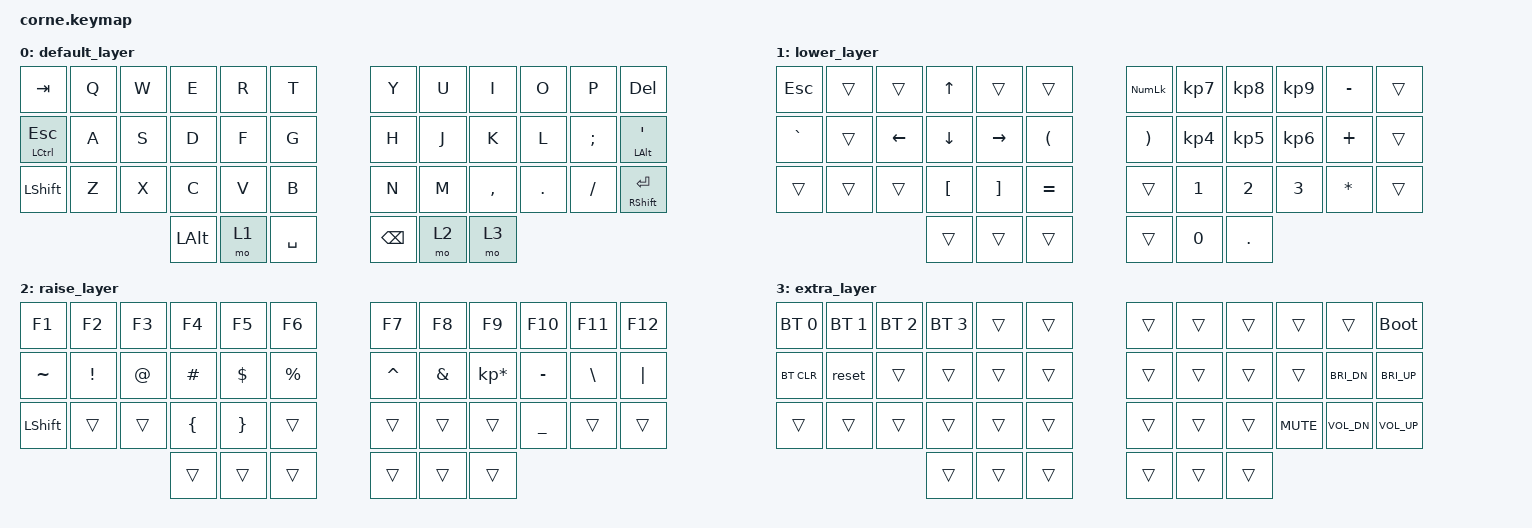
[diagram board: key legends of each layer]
/*
 * Copyright (c) 2020 The ZMK Contributors
 *
 * SPDX-License-Identifier: MIT
 */

#include <behaviors.dtsi>
#include <dt-bindings/zmk/keys.h>
#include <dt-bindings/zmk/bt.h>


/ {
        keymap {

            
 compatible = "zmk,keymap";

                default_layer {
// -----------------------------------------------------------------------------------------
// |  TAB |  Q  |  W  |  E  |  R   |  T  |      |  Y  |  U   |  I  |  O  |  P  | DEL |
// |ESCtrl|  A  |  S  |  D  |  F   |  G  |      |  H  |  J   |  K  |  L  |  ;  | 'ALT|
// | SHFT |  Z  |  X  |  C  |  V   |  B  |      |  N  |  M   |  ,  |  .  |  /  | SHFTRET|
//                    | GUI |LWRSPC||     | DEL |RSEBK | ALT |
                        bindings = <
   &kp TAB       &kp Q &kp W &kp E &kp R &kp T   &kp Y   &kp U  &kp I     &kp O   &kp P    &kp DEL
   &mt LCTRL ESC &kp A &kp S &kp D &kp F &kp G   &kp H   &kp J  &kp K     &kp L   &kp SEMI &mt LALT SQT
   &kp LSHFT     &kp Z &kp X &kp C &kp V &kp B   &kp N   &kp M  &kp COMMA &kp DOT &kp FSLH &mt RSHFT RET
                  &kp LALT  &mo 1 &kp SPACE     &kp BSPC &mo 2 &mo 3
                        >;
                };


        lower_layer {
// -----------------------------------------------------------------------------------------
// |  ESC |     |     | UP  |     |     |   |    |  7  |  8  |  9  |  -  |      |
// |   `  |     | LEFT|DOWN |RIGHT|  (  |   | )  |  4  |  5  |  6  |  +  |      |
// | SHFT |     |     |  [  |  ]  |     |   |    |  1  |  2  |  3  |  *  |      |
//                    |     |     |     |   |    |  0  |  .  |
                        bindings = <


   &kp ESC    &trans &trans   &kp UP   &trans    &trans   &kp KP_NUM &kp KP_N7 &kp KP_N8 &kp KP_N9 &kp MINUS &trans
   &kp GRAVE  &trans &kp LEFT &kp DOWN &kp RIGHT &kp LPAR   &kp RPAR &kp KP_N4 &kp KP_N5 &kp KP_N6 &kp PLUS  &trans
   &trans     &trans &trans   &kp LBKT &kp RBKT     &kp EQUAL   &trans &kp N1 &kp N2 &kp N3 &kp STAR  &trans
                              &trans   &trans    &trans   &trans &kp N0    &kp DOT         
                        >;
                };


 raise_layer {
// -----------------------------------------------------------------------------------------
// |  F1  | F2  |  F3 | F4  | F5  |  F6 |   |  F7 | F8  | F9  | F10 | F11 |  F12   |
// |TILDE |  !  |  @  |  #  |  $  |  %  |   |  ^  |  &  |  *  |  -  |  \  | "|"  |
// | SHFT |     |     |  {  |  }  |     |   |     |     |     |  _  |     |      | // TODO: Fix this row when &mkp is committed
//                    | GUI |     | SPC |   | ENT |     | ALT |
                        bindings = <
   &kp F1    &kp F2    &kp F3  &kp F4    &kp F5    &kp F6      &kp F7    &kp F8    &kp F9          &kp F10   &kp F11  &kp F12
   &kp TILDE &kp EXCL  &kp AT  &kp HASH  &kp DLLR  &kp PRCNT   &kp CARET &kp AMPS  &kp KP_MULTIPLY &kp MINUS &kp BSLH &kp PIPE
   &kp LSHFT &trans    &trans  &kp LBRC    &kp RBRC    &trans        &trans    &trans    &trans          &kp UNDER &trans &trans
                                   &trans &trans &trans        &trans    &trans    &trans
                        >;
                };


 extra_layer {
//---------------------------------------------------------------------------------------------
// | BT 0 | BT 1 | BT 2 | BT 3 |     |     |   |     |     |     |     |     | Boot|  
// |BT Clr| reset|      |      |     |     |   |     |     |     |     |     |     |  
// |      |      |      |      |     |     |   |     |     |     |     |     |     |
                             

                           bindings = <
   &bt BT_SEL 0 &bt BT_SEL 1 &bt BT_SEL 2 &bt BT_SEL 3 &trans &trans &trans &trans &trans &trans &trans &bootloader
   &bt BT_CLR   &reset       &trans    &trans    &trans &trans &trans &trans &trans &trans &kp C_BRI_DN &kp C_BRI_UP
   &trans       &trans       &trans    &trans    &trans &trans &trans &trans &trans &kp C_MUTE &kp C_VOL_DN &kp C_VOL_UP
                                       &trans    &trans &trans &trans &trans &trans

                                       >;


                };

        };
};
